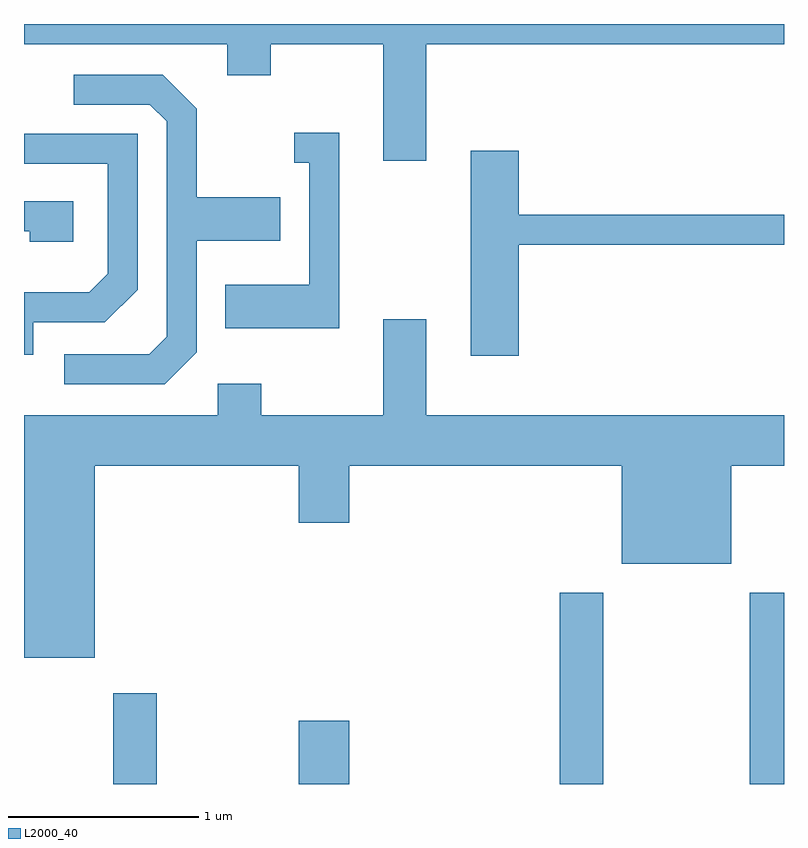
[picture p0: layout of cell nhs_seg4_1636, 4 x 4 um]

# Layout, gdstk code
import gdstk
lib = gdstk.Library(unit=1e-6, precision=1e-09)
def R(c, l, rs):  # rectangles x0, y0, x1, y1
    for r in rs: c.add(gdstk.rectangle(r[:2], r[2:], *l))
def P(c, l, *ps):  # polygons
    for p in ps: c.add(gdstk.Polygon(p, *l))
L2000_40 = (2000, 40)

nhs_seg4_1636 = lib.new_cell('nhs_seg4_1636')
R(nhs_seg4_1636, L2000_40, [(234.081,1261.982,234.309,1262.459), (235.056,1261.982,235.324,1262.314), (236.431,1261.982,236.659,1262.989), (237.431,1261.982,237.611,1262.989)])
P(nhs_seg4_1636, L2000_40, [(235.729,1265.876),(237.611,1265.876),(237.611,1265.982),(233.611,1265.982),(233.611,1265.876),(234.681,1265.876),(234.681,1265.711),(234.909,1265.711),(234.909,1265.876),(235.501,1265.876),(235.501,1265.261),(235.729,1265.261)],
  [(234.519,1264.254),(234.519,1264.841),(234.959,1264.841),(234.959,1265.069),(234.519,1265.069),(234.519,1265.537),(234.342,1265.714),(233.873,1265.714),(233.873,1265.556),(234.274,1265.556),(234.361,1265.469),(234.361,1264.337),(234.269,1264.244),(233.823,1264.244),(233.823,1264.086),(234.352,1264.086)],
  [(235.269,1265.409),(235.033,1265.409),(235.033,1265.251),(235.111,1265.251),(235.111,1264.609),(234.671,1264.609),(234.671,1264.381),(235.269,1264.381)],
  [(233.659,1264.411),(234.037,1264.411),(234.209,1264.584),(234.209,1265.404),(233.611,1265.404),(233.611,1265.246),(234.051,1265.246),(234.051,1264.667),(233.954,1264.569),(233.611,1264.569),(233.611,1264.241),(233.659,1264.241)],
  [(236.214,1264.821),(237.611,1264.821),(237.611,1264.979),(236.214,1264.979),(236.214,1265.314),(235.961,1265.314),(235.961,1264.236),(236.214,1264.236)],
  [(233.869,1265.049),(233.611,1265.049),(233.611,1264.891),(233.641,1264.891),(233.641,1264.836),(233.869,1264.836)],
  [(233.984,1263.656),(235.056,1263.656),(235.056,1263.356),(235.324,1263.356),(235.324,1263.656),(236.756,1263.656),(236.756,1263.141),(237.334,1263.141),(237.334,1263.656),(237.611,1263.656),(237.611,1263.924),(235.729,1263.924),(235.729,1264.429),(235.501,1264.429),(235.501,1263.924),(234.859,1263.924),(234.859,1264.089),(234.631,1264.089),(234.631,1263.924),(233.611,1263.924),(233.611,1262.646),(233.984,1262.646)])

lib.write_gds('nhs_seg4_1636.gds')
